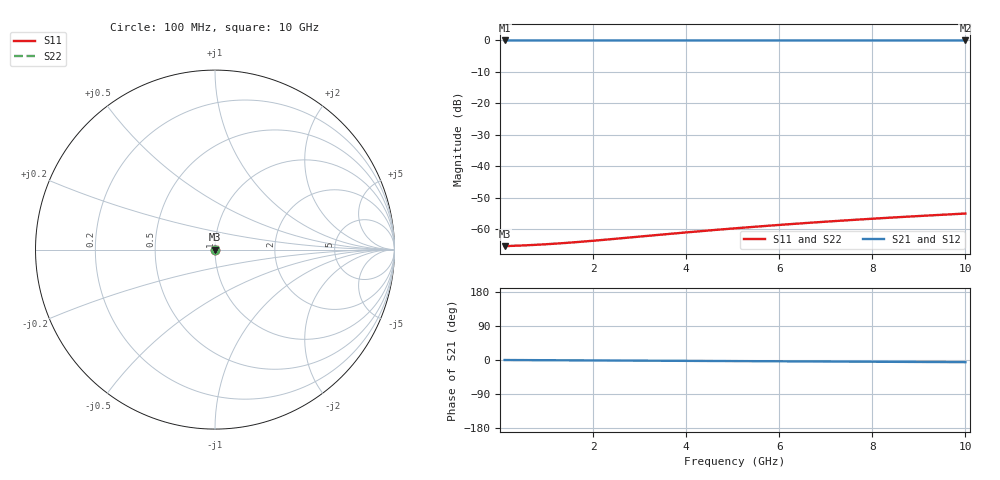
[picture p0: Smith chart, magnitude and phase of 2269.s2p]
# Hz S RI R 50.00
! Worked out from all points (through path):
!   100 points, 100 MHz to 10 GHz, reference 50 ohm
!   highest |S21| = 0.00 dB at 100 MHz (marker M1); lowest = 0.0 dB at 10 GHz (marker M2)
!   lowest |S11| = -65.5 dB at 100 MHz (marker M3), VSWR 1.00, Z = 50.1 + j0.00168 ohm
!   |S11| at or under -10 dB: start of sweep to end of sweep
!   |S22| runs from -65.5 to -55.1 dB; largest |S21 - S12| = 0
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1e8  0.000532 1.68e-05  0.9995 -0.000991  0.9995 -0.000991  0.000532 1.68e-05
6e8  0.000543 0.000101  0.9994 -0.00595  0.9994 -0.00595  0.000543 0.000101
9e8  0.000546 0.000151  0.9994 -0.00892  0.9994 -0.00892  0.000546 0.000151
1.1e9  0.000548 0.000185  0.9994 -0.0109  0.9994 -0.0109  0.000548 0.000185
1.3e9  0.00055 0.000218  0.9994 -0.0129  0.9994 -0.0129  0.00055 0.000218
1.5e9  0.000552 0.000251  0.9993 -0.0149  0.9993 -0.0149  0.000552 0.000251
1.8e9  0.000555 0.000301  0.9993 -0.0178  0.9993 -0.0178  0.000555 0.000301
2.1e9  0.000558 0.000351  0.9992 -0.0208  0.9992 -0.0208  0.000558 0.000351
2.4e9  0.000561 0.0004  0.9991 -0.0238  0.9991 -0.0238  0.000561 0.0004
3.4e9  0.000574 0.000564  0.9988 -0.0337  0.9988 -0.0337  0.000574 0.000564
4.3e9  0.000587 0.00071  0.9985 -0.0427  0.9985 -0.0427  0.000587 0.00071
4.7e9  0.000594 0.000774  0.9983 -0.0466  0.9983 -0.0466  0.000594 0.000774
5.1e9  0.000601 0.000838  0.9981 -0.0506  0.9981 -0.0506  0.000601 0.000838
5.5e9  0.000608 0.000902  0.9979 -0.0546  0.9979 -0.0546  0.000608 0.000902
5.9e9  0.000616 0.000965  0.9977 -0.0585  0.9977 -0.0585  0.000616 0.000965
6.3e9  0.000625 0.00103  0.9974 -0.0625  0.9974 -0.0625  0.000625 0.00103
6.7e9  0.000634 0.00109  0.9972 -0.0665  0.9972 -0.0665  0.000634 0.00109
7.5e9  0.000654 0.00122  0.9966 -0.0744  0.9966 -0.0744  0.000654 0.00122
7.9e9  0.000664 0.00128  0.9963 -0.0784  0.9963 -0.0784  0.000664 0.00128
8.4e9  0.000678 0.00136  0.9959 -0.0834  0.9959 -0.0834  0.000678 0.00136
9.2e9  0.000702 0.00148  0.9952 -0.0913  0.9952 -0.0913  0.000702 0.00148
1e10  0.000728 0.0016  0.9944 -0.0993  0.9944 -0.0993  0.000728 0.0016
